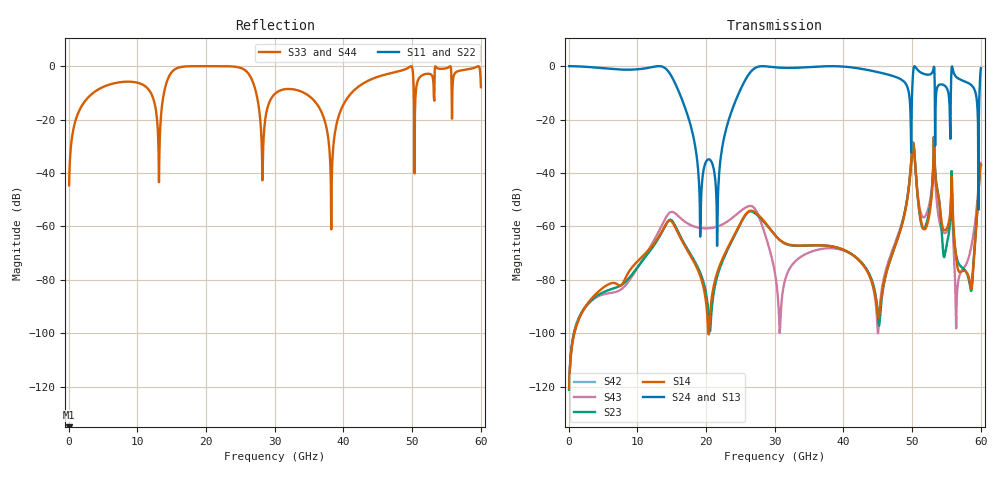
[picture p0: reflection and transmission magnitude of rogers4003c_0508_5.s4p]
! TOUCHSTONE file generated by CST MICROWAVE STUDIO
! Date and time: Wed Apr 16 11:32:51 2025
! Project name: LOSSLESS_rogers4003c_air_gapped_wideband_balanced.cst
! Parameters = {h=3; lambda=10; period=5; phi=0; theta=0; thickness=0.508; w_mesh_1=2; w_mesh_2=2; w_patch_1=1.6; w_patch_2=1.6}
! Header version: 2018
! Port assignment regex: !\s*Touchstone port\s*([0-9]+)\s*=\s*(CST MWS port|CST DS port)\s*([0-9]+|Zmin|Zmax)\s*\(\"(.*)\"\)(\s*mode\s*([0-9]+))?.*
! Touchstone port assignment:
! Touchstone port 1 = CST MWS port Zmin ("") mode 1
! Touchstone port 2 = CST MWS port Zmin ("") mode 2
! Touchstone port 3 = CST MWS port Zmax ("") mode 1
! Touchstone port 4 = CST MWS port Zmax ("") mode 2
! S-Parameters are not renormalized. Unphysical impedance of 50 will be written to the file.
# GHz S RI R 50
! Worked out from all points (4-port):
!   1002 points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, 60 MHz to 60 GHz, reference per port
!   strongest paths, dB at 60 MHz, 15 GHz, 30 GHz, 45 GHz, 60 GHz:
!     S24: 0.0, -4.0, -0.4, -2.2, -0.7
!     S13: 0.0, -4.0, -0.4, -2.2, -0.8
!     S14: -120.8, -58.2, -63.2, -93.2, -36.9
!     S23: -121.2, -57.8, -63.2, -92.7, -37.0
!     S43: -121.0, -54.6, -77.2, -100.0, -36.8
!     S42: -, -, -, -, -
!   lowest |S11| = - dB at 60 MHz (marker M1), VSWR 1.00
!   |S11| at or under -10 dB: start of sweep to end of sweep
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0.06  0 0  0 0  1 -0.00583  -1.2e-07 9.02e-07
      0 0  0 0  -1.89e-07 8.55e-07  1 -0.00581
      0 0  0 0  -2.66e-05 -0.00587  -5.61e-08 7.86e-07
      0 0  0 0  4.08e-08 8.93e-07  -2.19e-05 -0.00587
21.54  0 0  0 0  0.00191 -0.000777  0.000118 -4.58e-05
       0 0  0 0  9.99e-05 -3.58e-05  0.00202 -0.000807
       0 0  0 0  -0.37 -0.929  0.000919 -0.000361
       0 0  0 0  0.000917 -0.000358  -0.3661 -0.9306
27.3  0 0  0 0  0.3042 0.9001  -0.00177 0.000131
      0 0  0 0  -0.00168 0.000203  0.3025 0.9004
      0 0  0 0  -0.2974 0.0921  -0.00152 -0.000413
      0 0  0 0  -0.00185 -0.0006  -0.3009 0.0855
45.72  0 0  0 0  0.4038 -0.6165  -6.38e-05 2.87e-05
       0 0  0 0  -6.2e-05 -9.43e-06  0.4033 -0.6164
       0 0  0 0  0.5653 0.3705  6.99e-05 -1.8e-05
       0 0  0 0  8.56e-05 -3.21e-06  0.5657 0.3705
50.16  0 0  0 0  0.7198 0.3559  0.0322 -0.0174
       0 0  0 0  0.0326 -0.0171  0.7327 0.3491
       0 0  0 0  0.2673 -0.5303  -0.0321 0.0172
       0 0  0 0  -0.0319 0.0172  0.2542 -0.5235
58.44  0 0  0 0  0.2343 -0.3965  1.59e-05 -8.43e-05
       0 0  0 0  3.32e-06 -7.33e-05  0.2345 -0.3967
       0 0  0 0  0.7637 0.4524  0.000115 -0.0003
       0 0  0 0  0.000111 -0.000316  0.7634 0.4527
60  0 0  0 0  0.8113 0.421  0.0106 -0.00964
    0 0  0 0  0.0103 -0.00967  0.8191 0.4145
    0 0  0 0  0.195 -0.355  -0.0125 0.00828
    0 0  0 0  -0.0119 0.00834  0.1916 -0.3466
